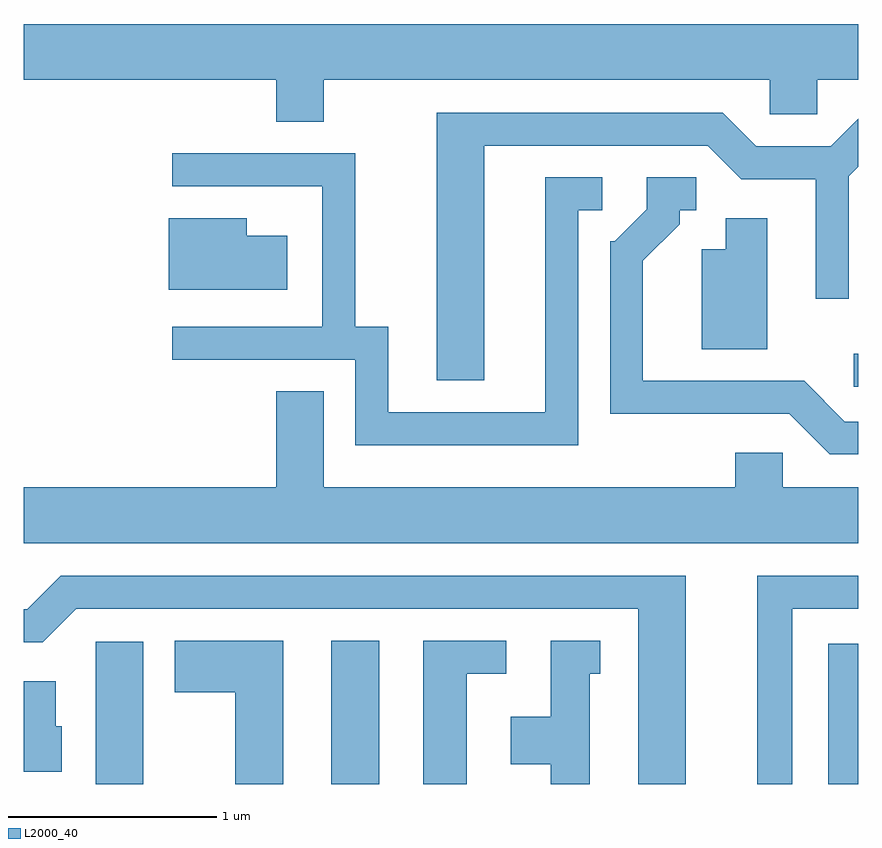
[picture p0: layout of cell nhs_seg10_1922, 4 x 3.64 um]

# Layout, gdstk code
import gdstk
lib = gdstk.Library(unit=1e-6, precision=1e-09)
def R(c, l, rs):  # rectangles x0, y0, x1, y1
    for r in rs: c.add(gdstk.rectangle(r[:2], r[2:], *l))
def P(c, l, *ps):  # polygons
    for p in ps: c.add(gdstk.Polygon(p, *l))
L2000_40 = (2000, 40)

nhs_seg10_1922 = lib.new_cell('nhs_seg10_1922')
R(nhs_seg10_1922, L2000_40, [(241.956,2130.522,242.184,2131.204), (243.086,2130.522,243.314,2131.209), (245.466,2130.522,245.611,2131.194), (245.588,2132.426,245.611,2132.584)])
P(nhs_seg10_1922, L2000_40, [(243.049,2133.896),(245.186,2133.896),(245.186,2133.731),(245.414,2133.731),(245.414,2133.896),(245.611,2133.896),(245.611,2134.164),(241.611,2134.164),(241.611,2133.896),(242.821,2133.896),(242.821,2133.696),(243.049,2133.696)],
  [(243.819,2133.581),(244.889,2133.581),(245.049,2133.421),(245.406,2133.421),(245.406,2132.848),(245.564,2132.848),(245.564,2133.434),(245.611,2133.481),(245.611,2133.711),(245.479,2133.579),(245.122,2133.579),(244.962,2133.739),(243.591,2133.739),(243.591,2132.456),(243.819,2132.456)],
  [(244.269,2133.271),(244.383,2133.271),(244.383,2133.429),(244.111,2133.429),(244.111,2132.304),(243.359,2132.304),(243.359,2132.714),(243.199,2132.714),(243.199,2133.544),(242.323,2133.544),(242.323,2133.386),(243.041,2133.386),(243.041,2132.714),(242.323,2132.714),(242.323,2132.556),(243.201,2132.556),(243.201,2132.146),(244.269,2132.146)],
  [(245.611,2132.259),(245.547,2132.259),(245.352,2132.454),(244.579,2132.454),(244.579,2133.029),(244.754,2133.204),(244.754,2133.271),(244.833,2133.271),(244.833,2133.429),(244.596,2133.429),(244.596,2133.277),(244.444,2133.124),(244.421,2133.124),(244.421,2132.296),(245.279,2132.296),(245.474,2132.101),(245.611,2132.101)],
  [(242.874,2133.149),(242.679,2133.149),(242.679,2133.234),(242.306,2133.234),(242.306,2132.891),(242.874,2132.891)],
  [(245.174,2133.234),(244.976,2133.234),(244.976,2133.084),(244.861,2133.084),(244.861,2132.606),(245.174,2132.606)],
  [(245.611,2131.944),(245.249,2131.944),(245.249,2132.109),(245.021,2132.109),(245.021,2131.944),(243.049,2131.944),(243.049,2132.404),(242.821,2132.404),(242.821,2131.944),(241.611,2131.944),(241.611,2131.676),(245.611,2131.676)],
  [(244.784,2131.519),(241.789,2131.519),(241.629,2131.359),(241.611,2131.359),(241.611,2131.201),(241.702,2131.201),(241.862,2131.361),(244.556,2131.361),(244.556,2130.522),(244.784,2130.522)],
  [(245.294,2131.361),(245.611,2131.361),(245.611,2131.519),(245.126,2131.519),(245.126,2130.522),(245.294,2130.522)],
  [(244.324,2131.051),(244.373,2131.051),(244.373,2131.209),(244.136,2131.209),(244.136,2130.844),(243.946,2130.844),(243.946,2130.616),(244.136,2130.616),(244.136,2130.522),(244.324,2130.522)],
  [(242.854,2131.209),(242.336,2131.209),(242.336,2130.961),(242.626,2130.961),(242.626,2130.522),(242.854,2130.522)],
  [(243.734,2131.051),(243.923,2131.051),(243.923,2131.209),(243.526,2131.209),(243.526,2130.522),(243.734,2130.522)],
  [(241.794,2130.799),(241.764,2130.799),(241.764,2131.014),(241.611,2131.014),(241.611,2130.581),(241.794,2130.581)])

lib.write_gds('nhs_seg10_1922.gds')
